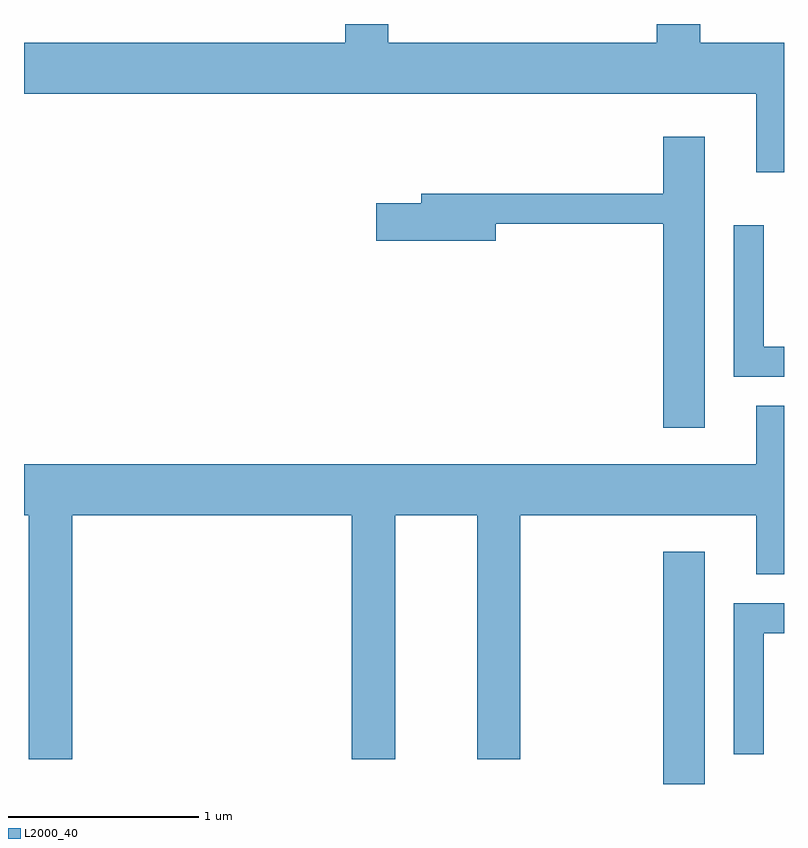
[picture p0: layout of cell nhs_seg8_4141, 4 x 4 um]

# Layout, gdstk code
import gdstk
lib = gdstk.Library(unit=1e-6, precision=1e-09)
def R(c, l, rs):  # rectangles x0, y0, x1, y1
    for r in rs: c.add(gdstk.rectangle(r[:2], r[2:], *l))
def P(c, l, *ps):  # polygons
    for p in ps: c.add(gdstk.Polygon(p, *l))
L2000_40 = (2000, 40)

nhs_seg8_4141 = lib.new_cell('nhs_seg8_4141')
R(nhs_seg8_4141, L2000_40, [(312.976,1828.342,313.194,1829.564)])
P(nhs_seg8_4141, L2000_40, [(313.611,1832.244),(313.169,1832.244),(313.169,1832.342),(312.941,1832.342),(312.941,1832.244),(311.529,1832.244),(311.529,1832.342),(311.301,1832.342),(311.301,1832.244),(309.611,1832.244),(309.611,1831.976),(313.466,1831.976),(313.466,1831.561),(313.611,1831.561)],
  [(313.194,1831.749),(312.976,1831.749),(312.976,1831.449),(311.701,1831.449),(311.701,1831.399),(311.466,1831.399),(311.466,1831.201),(312.094,1831.201),(312.094,1831.291),(312.976,1831.291),(312.976,1830.216),(313.194,1830.216)],
  [(313.611,1830.644),(313.504,1830.644),(313.504,1831.283),(313.346,1831.283),(313.346,1830.486),(313.611,1830.486)],
  [(309.611,1829.756),(309.636,1829.756),(309.636,1828.471),(309.864,1828.471),(309.864,1829.756),(311.336,1829.756),(311.336,1828.471),(311.564,1828.471),(311.564,1829.756),(311.996,1829.756),(311.996,1828.471),(312.224,1828.471),(312.224,1829.756),(313.466,1829.756),(313.466,1829.446),(313.611,1829.446),(313.611,1830.334),(313.466,1830.334),(313.466,1830.024),(309.611,1830.024)],
  [(313.504,1829.136),(313.611,1829.136),(313.611,1829.294),(313.346,1829.294),(313.346,1828.498),(313.504,1828.498)])

lib.write_gds('nhs_seg8_4141.gds')
